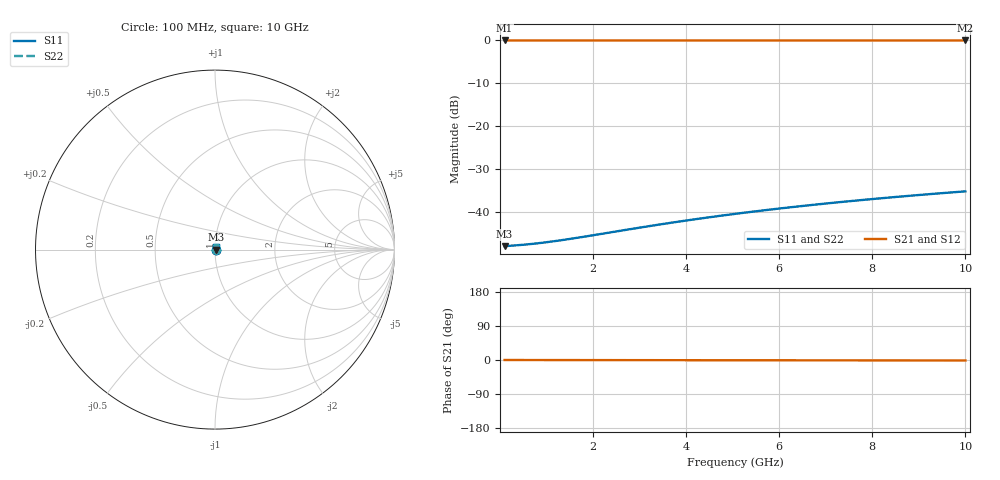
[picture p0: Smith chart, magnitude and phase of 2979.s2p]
# Hz S RI R 50.00
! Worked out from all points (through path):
!   100 points, 100 MHz to 10 GHz, reference 50 ohm
!   highest |S21| = -0.04 dB at 100 MHz (marker M1); lowest = 0.0 dB at 10 GHz (marker M2)
!   lowest |S11| = -47.8 dB at 100 MHz (marker M3), VSWR 1.01, Z = 50.4 + j0.0171 ohm
!   |S11| at or under -10 dB: start of sweep to end of sweep
!   |S22| runs from -47.8 to -35.1 dB; largest |S21 - S12| = 0
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1e8  0.00405 0.000169  0.9959 -0.000221  0.9959 -0.000221  0.00405 0.000169
5e8  0.00413 0.000847  0.9959 -0.00111  0.9959 -0.00111  0.00413 0.000847
7e8  0.00415 0.00119  0.9958 -0.00155  0.9958 -0.00155  0.00415 0.00119
9e8  0.00417 0.00152  0.9958 -0.00199  0.9958 -0.00199  0.00417 0.00152
1.1e9  0.00419 0.00186  0.9958 -0.00243  0.9958 -0.00243  0.00419 0.00186
1.3e9  0.0042 0.0022  0.9958 -0.00287  0.9958 -0.00287  0.0042 0.0022
1.5e9  0.00422 0.00254  0.9958 -0.00331  0.9958 -0.00331  0.00422 0.00254
1.8e9  0.00424 0.00305  0.9958 -0.00398  0.9958 -0.00398  0.00424 0.00305
2.9e9  0.0043 0.00491  0.9957 -0.00641  0.9957 -0.00641  0.0043 0.00491
3.4e9  0.00433 0.00576  0.9957 -0.00751  0.9957 -0.00751  0.00433 0.00576
3.8e9  0.00435 0.00643  0.9956 -0.0084  0.9956 -0.0084  0.00435 0.00643
4.2e9  0.00437 0.00711  0.9956 -0.00928  0.9956 -0.00928  0.00437 0.00711
4.6e9  0.0044 0.00779  0.9956 -0.0102  0.9956 -0.0102  0.0044 0.00779
5.1e9  0.00442 0.00863  0.9956 -0.0113  0.9956 -0.0113  0.00442 0.00863
5.5e9  0.00445 0.00931  0.9955 -0.0122  0.9955 -0.0122  0.00445 0.00931
5.9e9  0.00447 0.00999  0.9955 -0.013  0.9955 -0.013  0.00447 0.00999
6.3e9  0.0045 0.0107  0.9955 -0.0139  0.9955 -0.0139  0.0045 0.0107
6.7e9  0.00453 0.0113  0.9955 -0.0148  0.9955 -0.0148  0.00453 0.0113
7.5e9  0.00459 0.0127  0.9954 -0.0166  0.9954 -0.0166  0.00459 0.0127
8.4e9  0.00465 0.0142  0.9953 -0.0186  0.9953 -0.0186  0.00465 0.0142
9.2e9  0.00472 0.0156  0.9953 -0.0203  0.9953 -0.0203  0.00472 0.0156
1e10  0.00479 0.0169  0.9952 -0.0221  0.9952 -0.0221  0.00479 0.0169
